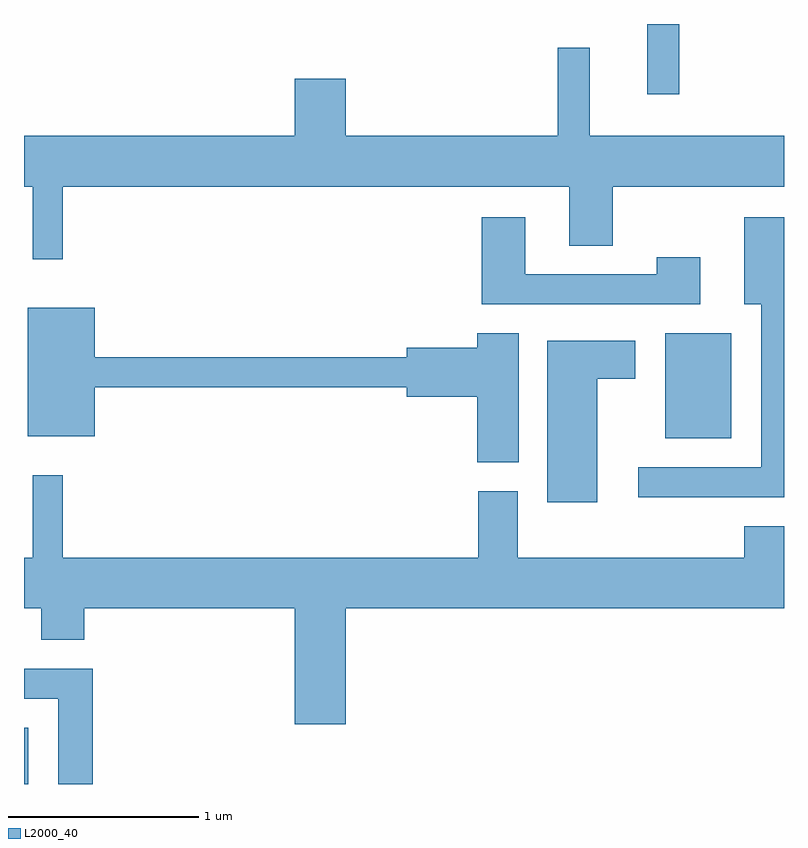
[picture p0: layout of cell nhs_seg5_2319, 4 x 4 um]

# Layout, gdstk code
import gdstk
lib = gdstk.Library(unit=1e-6, precision=1e-09)
def R(c, l, rs):  # rectangles x0, y0, x1, y1
    for r in rs: c.add(gdstk.rectangle(r[:2], r[2:], *l))
def P(c, l, *ps):  # polygons
    for p in ps: c.add(gdstk.Polygon(p, *l))
L2000_40 = (2000, 40)

nhs_seg5_2319 = lib.new_cell('nhs_seg5_2319')
R(nhs_seg5_2319, L2000_40, [(253.611,1478.072,253.634,1478.369), (256.986,1479.891,257.334,1480.444), (256.891,1481.703,257.059,1482.072)])
P(nhs_seg5_2319, L2000_40, [(253.814,1481.216),(256.481,1481.216),(256.481,1480.906),(256.709,1480.906),(256.709,1481.216),(257.611,1481.216),(257.611,1481.484),(256.589,1481.484),(256.589,1481.948),(256.421,1481.948),(256.421,1481.484),(255.304,1481.484),(255.304,1481.784),(255.036,1481.784),(255.036,1481.484),(253.611,1481.484),(253.611,1481.216),(253.656,1481.216),(253.656,1480.833),(253.814,1480.833)],
  [(257.611,1481.054),(257.401,1481.054),(257.401,1480.596),(257.491,1480.596),(257.491,1479.739),(256.843,1479.739),(256.843,1479.581),(257.611,1479.581)],
  [(257.169,1480.844),(256.941,1480.844),(256.941,1480.754),(256.249,1480.754),(256.249,1481.054),(256.021,1481.054),(256.021,1480.596),(257.169,1480.596)],
  [(256.214,1480.444),(255.996,1480.444),(255.996,1480.369),(255.626,1480.369),(255.626,1480.319),(253.984,1480.319),(253.984,1480.579),(253.631,1480.579),(253.631,1479.901),(253.984,1479.901),(253.984,1480.161),(255.626,1480.161),(255.626,1480.111),(255.996,1480.111),(255.996,1479.766),(256.214,1479.766)],
  [(256.629,1480.206),(256.829,1480.206),(256.829,1480.404),(256.366,1480.404),(256.366,1479.556),(256.629,1479.556)],
  [(255.304,1478.996),(257.611,1478.996),(257.611,1479.429),(257.401,1479.429),(257.401,1479.264),(256.209,1479.264),(256.209,1479.614),(256.001,1479.614),(256.001,1479.264),(253.814,1479.264),(253.814,1479.698),(253.656,1479.698),(253.656,1479.264),(253.611,1479.264),(253.611,1478.996),(253.701,1478.996),(253.701,1478.831),(253.929,1478.831),(253.929,1478.996),(255.036,1478.996),(255.036,1478.386),(255.304,1478.386)],
  [(253.974,1478.679),(253.611,1478.679),(253.611,1478.521),(253.791,1478.521),(253.791,1478.072),(253.974,1478.072)])

lib.write_gds('nhs_seg5_2319.gds')
